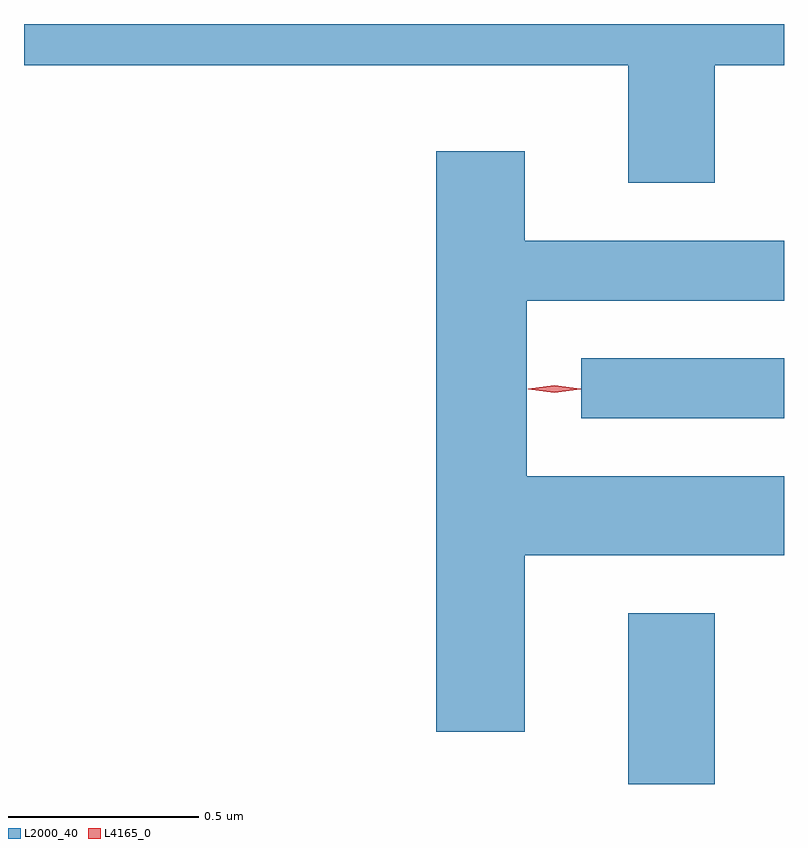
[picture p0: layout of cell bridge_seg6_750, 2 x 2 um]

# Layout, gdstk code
import gdstk
lib = gdstk.Library(unit=1e-6, precision=1e-09)
def R(c, l, rs):  # rectangles x0, y0, x1, y1
    for r in rs: c.add(gdstk.rectangle(r[:2], r[2:], *l))
def P(c, l, *ps):  # polygons
    for p in ps: c.add(gdstk.Polygon(p, *l))
L2000_40 = (2000, 40)
L4165_0 = (4165, 0)

bridge_seg6_750 = lib.new_cell('bridge_seg6_750')
R(bridge_seg6_750, L2000_40, [(559.531,1585.884,559.759,1586.334), (559.408,1586.846,559.941,1587.004)])
P(bridge_seg6_750, L2000_40, [(559.759,1587.776),(559.941,1587.776),(559.941,1587.884),(557.941,1587.884),(557.941,1587.776),(559.531,1587.776),(559.531,1587.466),(559.759,1587.466)],
  [(559.259,1586.486),(559.941,1586.486),(559.941,1586.694),(559.264,1586.694),(559.264,1587.156),(559.941,1587.156),(559.941,1587.314),(559.259,1587.314),(559.259,1587.549),(559.026,1587.549),(559.026,1586.021),(559.259,1586.021)])
P(bridge_seg6_750, L4165_0, [(559.337,1586.914),(559.271,1586.923),(559.27,1586.924),(559.271,1586.924),(559.337,1586.934),(559.402,1586.924),(559.403,1586.924),(559.402,1586.923)],
  [(559.337,1586.914),(559.268,1586.923),(559.268,1586.924),(559.268,1586.924),(559.337,1586.934),(559.406,1586.924),(559.406,1586.924),(559.406,1586.923)])

lib.write_gds('bridge_seg6_750.gds')
